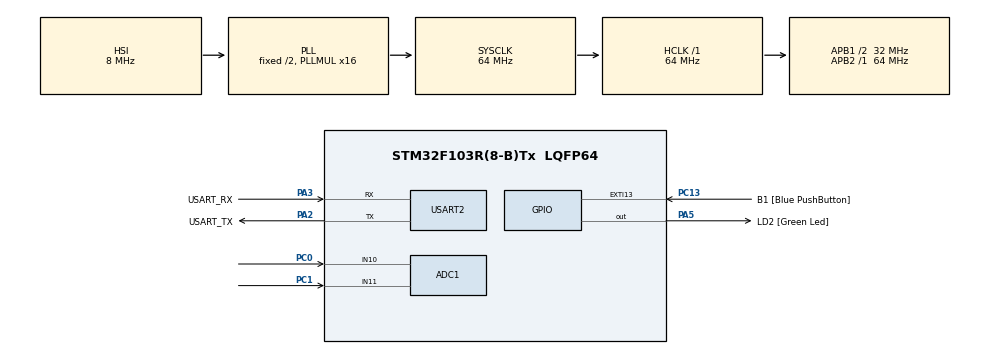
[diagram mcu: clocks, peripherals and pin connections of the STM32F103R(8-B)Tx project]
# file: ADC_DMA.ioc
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Mcu.Family=STM32F1
PC15-OSC32_OUT.Mode=LSE-External-Oscillator
PA2.GPIO_PuPd=GPIO_NOPULL
Dma.ADC1.0.Instance=DMA1_Channel1
ADC1.Rank-0\#ChannelRegularConversion=1
PD1-OSC_OUT.Mode=HSE-External-Clock-Source
ADC1.ContinuousConvMode=ENABLE
PA14.GPIO_Label=TCK
PA3.GPIO_PuPd=GPIO_NOPULL
PA2.GPIO_Speed=GPIO_SPEED_FREQ_LOW
PC13-TAMPER-RTC.Signal=GPXTI13
PD0-OSC_IN.Signal=RCC_OSC_IN
PC0.Signal=ADCx_IN10
RCC.APB1CLKDivider=RCC_HCLK_DIV2
PC14-OSC32_IN.Signal=RCC_OSC32_IN
PA3.GPIO_Speed=GPIO_SPEED_FREQ_LOW
RCC.SYSCLKSource=RCC_SYSCLKSOURCE_PLLCLK
ProjectManager.StackSize=0x400
PD1-OSC_OUT.Signal=RCC_OSC_OUT
RCC.ADCPresc=RCC_ADCPCLK2_DIV8
PA3.Mode=Asynchronous
PA13.Signal=SYS_JTMS-SWDIO
Dma.ADC1.0.PeriphDataAlignment=DMA_PDATAALIGN_HALFWORD
ProjectManager.TargetToolchain=TrueSTUDIO
Dma.ADC1.0.Mode=DMA_CIRCULAR
PA3.GPIO_Mode=GPIO_MODE_AF_PP
RCC.HCLKFreq_Value=64000000
Dma.ADC1.0.Priority=DMA_PRIORITY_LOW
RCC.APB2TimFreq_Value=64000000
ADC1.Channel-1\#ChannelRegularConversion=ADC_CHANNEL_11
Dma.ADC1.0.Direction=DMA_PERIPH_TO_MEMORY
RCC.USBFreq_Value=64000000
PC15-OSC32_OUT.Signal=RCC_OSC32_OUT
Dma.ADC1.0.MemDataAlignment=DMA_MDATAALIGN_HALFWORD
RCC.AHBFreq_Value=64000000
PD0-OSC_IN.Mode=HSE-External-Clock-Source
NVIC.EXTI15_10_IRQn=true\:0\:0\:false\:false\:true\:true\:true
PA5.Signal=GPIO_Output
ADC1.Channel-0\#ChannelRegularConversion=ADC_CHANNEL_10
board=NUCLEO-F103RB
RCC.RTCClockSelection=RCC_RTCCLKSOURCE_LSE
PC13-TAMPER-RTC.GPIO_Label=B1 [Blue PushButton]
RCC.PLLMUL=RCC_PLL_MUL16
RCC.APB2Freq_Value=64000000
SH.ADCx_IN11.0=ADC1_IN11,IN11
PC14-OSC32_IN.Mode=LSE-External-Oscillator
PA5.GPIO_ModeDefaultOutputPP=GPIO_MODE_OUTPUT_PP
PA14.Mode=Serial_Wire
PA5.GPIO_PuPd=GPIO_NOPULL
Dma.ADC1.0.PeriphInc=DMA_PINC_DISABLE
ADC1.NbrOfConversion=2
PA13.Mode=Serial_Wire
Mcu.Name=STM32F103R(8-B)Tx
ADC1.SamplingTime-0\#ChannelRegularConversion=ADC_SAMPLETIME_7CYCLES_5
PA2.Signal=USART2_TX
PA13.GPIO_Label=TMS
PB3.Signal=SYS_JTDO-TRACESWO
ADC1.SamplingTime-1\#ChannelRegularConversion=ADC_SAMPLETIME_7CYCLES_5
RCC.SYSCLKFreq_VALUE=64000000
Mcu.Package=LQFP64
ADC1.master=1
PA5.GPIO_Label=LD2 [Green Led]
USART2.VirtualMode=VM_ASYNC
PC13-TAMPER-RTC.GPIO_PuPd=GPIO_NOPULL
ADC1.Rank-1\#ChannelRegularConversion=2
PA2.GPIO_Label=USART_TX
PA14.Signal=SYS_JTCK-SWCLK
Dma.ADC1.0.MemInc=DMA_MINC_ENABLE
SH.ADCx_IN10.0=ADC1_IN10,IN10
ProjectManager.HeapSize=0x200
PA5.GPIO_Speed=GPIO_SPEED_FREQ_LOW
NVIC.PriorityGroup=NVIC_PRIORITYGROUP_4
ADC1.NbrOfConversionFlag=1
RCC.APB1TimFreq_Value=64000000
PA2.Mode=Asynchronous
NVIC.DMA1_Channel1_IRQn=true\:0\:0\:false\:false\:true\:false\:true
Dma.Request0=ADC1
RCC.APB1Freq_Value=32000000
PC1.Signal=ADCx_IN11
PA3.GPIO_Label=USART_RX
PA3.Signal=USART2_RX
PA2.GPIO_Mode=GPIO_MODE_AF_PP
PB3.GPIO_Label=SWO

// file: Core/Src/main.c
/* USER CODE BEGIN Header */
/**
  ******************************************************************************
  * @file           : main.c
  * @brief          : Main program body
  ******************************************************************************
  * @attention
  *
  * <h2><center>&copy; Copyright (c) 2021 STMicroelectronics.
  * All rights reserved.</center></h2>
  *
  * This software component is licensed by ST under BSD 3-Clause license,
  * the "License"; You may not use this file except in compliance with the
  * License. You may obtain a copy of the License at:
  *                        opensource.org/licenses/BSD-3-Clause
  *
  ******************************************************************************
  */
/* USER CODE END Header */
#include "main.h"

ADC_HandleTypeDef hadc1;
DMA_HandleTypeDef hdma_adc1;

UART_HandleTypeDef huart2;

/* USER CODE BEGIN PV */
volatile uint16_t value[2];
/* USER CODE END PV */

void SystemClock_Config(void);
static void MX_GPIO_Init(void);
static void MX_DMA_Init(void);
static void MX_ADC1_Init(void);
static void MX_USART2_UART_Init(void);

/* USER CODE BEGIN 0 */
#ifdef __GNUC__
#define PUTCHAR_PROTOTYPE int __io_putchar(int ch)
#else
#define PUTCHAR_PROTOTYPE int fputc(int ch, FILE *f)
#endif

PUTCHAR_PROTOTYPE
{
	if(ch == '\n')
		HAL_UART_Transmit(&huart2, (uint8_t*) "\r", 1, 0xFFFF);
	HAL_UART_Transmit(&huart2, (uint8_t*) &ch, 1, 0xFFFF);

	return ch;
}
/* USER CODE END 0 */

int main(void)
{

  /* MCU Configuration--------------------------------------------------------*/

  /* Reset of all peripherals, Initializes the Flash interface and the Systick. */
  HAL_Init();

  /* Configure the system clock */
  SystemClock_Config();

  /* Initialize all configured peripherals */
  MX_GPIO_Init();
  MX_DMA_Init();
  MX_ADC1_Init();
  MX_USART2_UART_Init();

  /* Infinite loop */
  /* USER CODE BEGIN WHILE */
  if(HAL_ADCEx_Calibration_Start(&hadc1) != HAL_OK){
	  Error_Handler();
  }

  if(HAL_ADC_Start_DMA(&hadc1,(uint32_t*) &value, 2)!=HAL_OK){
	  Error_Handler();
  }
  printf("is ok\n");
  while (1)
  {
	  printf("%d %d\n", value[0], value[1]);
	  HAL_Delay(100);
    /* USER CODE END WHILE */

  }
}

void SystemClock_Config(void)
{
  RCC_OscInitTypeDef RCC_OscInitStruct = {0};
  RCC_ClkInitTypeDef RCC_ClkInitStruct = {0};
  RCC_PeriphCLKInitTypeDef PeriphClkInit = {0};

  /** Initializes the RCC Oscillators according to the specified parameters
  * in the RCC_OscInitTypeDef structure.
  */
  RCC_OscInitStruct.OscillatorType = RCC_OSCILLATORTYPE_HSI;
  RCC_OscInitStruct.HSIState = RCC_HSI_ON;
  RCC_OscInitStruct.HSICalibrationValue = RCC_HSICALIBRATION_DEFAULT;
  RCC_OscInitStruct.PLL.PLLState = RCC_PLL_ON;
  RCC_OscInitStruct.PLL.PLLSource = RCC_PLLSOURCE_HSI_DIV2;
  RCC_OscInitStruct.PLL.PLLMUL = RCC_PLL_MUL16;
  if (HAL_RCC_OscConfig(&RCC_OscInitStruct) != HAL_OK)
  {
    Error_Handler();
  }
  /** Initializes the CPU, AHB and APB buses clocks
  */
  RCC_ClkInitStruct.ClockType = RCC_CLOCKTYPE_HCLK|RCC_CLOCKTYPE_SYSCLK
                              |RCC_CLOCKTYPE_PCLK1|RCC_CLOCKTYPE_PCLK2;
  RCC_ClkInitStruct.SYSCLKSource = RCC_SYSCLKSOURCE_PLLCLK;
  RCC_ClkInitStruct.AHBCLKDivider = RCC_SYSCLK_DIV1;
  RCC_ClkInitStruct.APB1CLKDivider = RCC_HCLK_DIV2;
  RCC_ClkInitStruct.APB2CLKDivider = RCC_HCLK_DIV1;

  if (HAL_RCC_ClockConfig(&RCC_ClkInitStruct, FLASH_LATENCY_2) != HAL_OK)
  {
    Error_Handler();
  }
  PeriphClkInit.PeriphClockSelection = RCC_PERIPHCLK_ADC;
  PeriphClkInit.AdcClockSelection = RCC_ADCPCLK2_DIV8;
  if (HAL_RCCEx_PeriphCLKConfig(&PeriphClkInit) != HAL_OK)
  {
    Error_Handler();
  }
}

static void MX_ADC1_Init(void)
{

  ADC_ChannelConfTypeDef sConfig = {0};

  /** Common config
  */
  hadc1.Instance = ADC1;
  hadc1.Init.ScanConvMode = ADC_SCAN_ENABLE;
  hadc1.Init.ContinuousConvMode = ENABLE;
  hadc1.Init.DiscontinuousConvMode = DISABLE;
  hadc1.Init.ExternalTrigConv = ADC_SOFTWARE_START;
  hadc1.Init.DataAlign = ADC_DATAALIGN_RIGHT;
  hadc1.Init.NbrOfConversion = 2;
  if (HAL_ADC_Init(&hadc1) != HAL_OK)
  {
    Error_Handler();
  }
  /** Configure Regular Channel
  */
  sConfig.Channel = ADC_CHANNEL_10;
  sConfig.Rank = ADC_REGULAR_RANK_1;
  sConfig.SamplingTime = ADC_SAMPLETIME_7CYCLES_5;
  if (HAL_ADC_ConfigChannel(&hadc1, &sConfig) != HAL_OK)
  {
    Error_Handler();
  }
  /** Configure Regular Channel
  */
  sConfig.Channel = ADC_CHANNEL_11;
  sConfig.Rank = ADC_REGULAR_RANK_2;
  if (HAL_ADC_ConfigChannel(&hadc1, &sConfig) != HAL_OK)
  {
    Error_Handler();
  }

}

static void MX_USART2_UART_Init(void)
{

  huart2.Instance = USART2;
  huart2.Init.BaudRate = 115200;
  huart2.Init.WordLength = UART_WORDLENGTH_8B;
  huart2.Init.StopBits = UART_STOPBITS_1;
  huart2.Init.Parity = UART_PARITY_NONE;
  huart2.Init.Mode = UART_MODE_TX_RX;
  huart2.Init.HwFlowCtl = UART_HWCONTROL_NONE;
  huart2.Init.OverSampling = UART_OVERSAMPLING_16;
  if (HAL_UART_Init(&huart2) != HAL_OK)
  {
    Error_Handler();
  }

}

static void MX_DMA_Init(void)
{

  /* DMA controller clock enable */
  __HAL_RCC_DMA1_CLK_ENABLE();

  /* DMA interrupt init */
  /* DMA1_Channel1_IRQn interrupt configuration */
  HAL_NVIC_SetPriority(DMA1_Channel1_IRQn, 0, 0);
  HAL_NVIC_EnableIRQ(DMA1_Channel1_IRQn);

}

static void MX_GPIO_Init(void)
{
  GPIO_InitTypeDef GPIO_InitStruct = {0};

  /* GPIO Ports Clock Enable */
  __HAL_RCC_GPIOC_CLK_ENABLE();
  __HAL_RCC_GPIOD_CLK_ENABLE();
  __HAL_RCC_GPIOA_CLK_ENABLE();
  __HAL_RCC_GPIOB_CLK_ENABLE();

  /*Configure GPIO pin Output Level */
  HAL_GPIO_WritePin(LD2_GPIO_Port, LD2_Pin, GPIO_PIN_RESET);

  /*Configure GPIO pin : B1_Pin */
  GPIO_InitStruct.Pin = B1_Pin;
  GPIO_InitStruct.Mode = GPIO_MODE_IT_RISING;
  GPIO_InitStruct.Pull = GPIO_NOPULL;
  HAL_GPIO_Init(B1_GPIO_Port, &GPIO_InitStruct);

  /*Configure GPIO pin : LD2_Pin */
  GPIO_InitStruct.Pin = LD2_Pin;
  GPIO_InitStruct.Mode = GPIO_MODE_OUTPUT_PP;
  GPIO_InitStruct.Pull = GPIO_NOPULL;
  GPIO_InitStruct.Speed = GPIO_SPEED_FREQ_LOW;
  HAL_GPIO_Init(LD2_GPIO_Port, &GPIO_InitStruct);

  /* EXTI interrupt init*/
  HAL_NVIC_SetPriority(EXTI15_10_IRQn, 0, 0);
  HAL_NVIC_EnableIRQ(EXTI15_10_IRQn);

}

void Error_Handler(void)
{
  __disable_irq();
  while (1)
  {
  }
}

/************************ (C) COPYRIGHT STMicroelectronics *****END OF FILE****/
